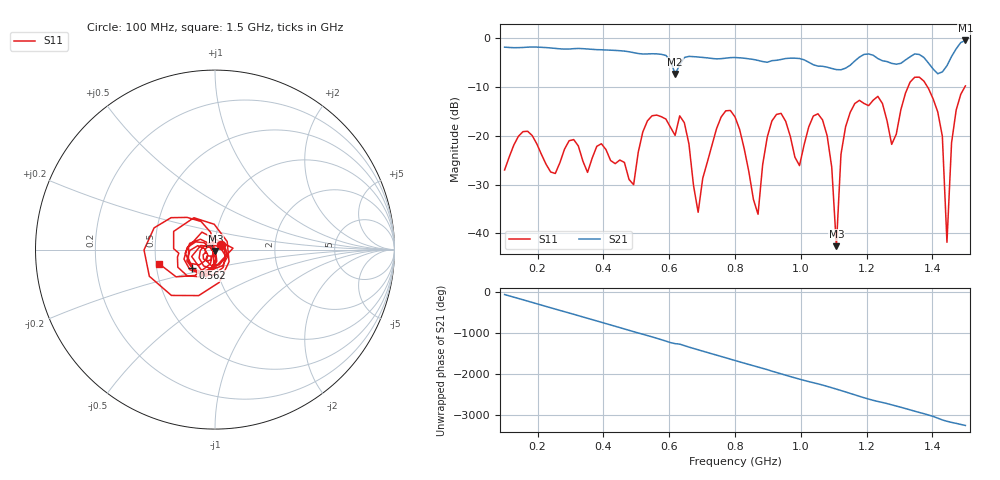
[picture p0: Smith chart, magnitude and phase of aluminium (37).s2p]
! NanoVNA-App
! Date: 2025-09-25 14:55:33
! Start: 100MHz Stop: 1,5GHz Points: 101
! S-Parameter data: F S11 S21 S12 S22
# Hz S RI R 50
!  Frequency  S11_Real  S11_Imag  S21_Real  S21_Imag  S12_Real  S12_Imag  S22_Real  S22_Imag
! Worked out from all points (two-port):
!   101 points, 100 MHz to 1.5 GHz, reference 50 ohm
!   highest |S21| = -0.55 dB at 1.5 GHz (marker M1); lowest = -7.4 dB at 618 MHz (marker M2)
!   |S21| within 3 dB of the highest: start of sweep to 586.4 MHz; 1.46 GHz to end of sweep (the widest 2 of 4)
!   lowest |S11| = -42.6 dB at 1.108 GHz (marker M3), VSWR 1.01, Z = 50.3 - j0.694 ohm
!   |S11| at or under -10 dB: start of sweep to 1.326 GHz; 1.384 GHz to 1.499 GHz (114.3 MHz wide, 7.93 % of centre)
!   S12 and S22 are empty: the file has one direction only
!   S11 on the Smith chart (normalised r, x): 100 MHz: 1.07, +0.06; 562 MHz: 0.76, -0.16; 1.5 GHz: 0.52, -0.09
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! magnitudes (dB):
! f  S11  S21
! 100 MHz  -27.0  -1.9
! 338 MHz  -25.2  -2.2
! 492 MHz  -30.0  -3.0
! 562 MHz  -15.8  -3.3
! 576 MHz  -16.1  -3.4
! 618 MHz  -19.9  -7.4
! 688 MHz  -35.7  -3.9
! 800 MHz  -16.2  -4.0
! 870 MHz  -36.1  -4.6
! 912 MHz  -17.0  -4.7
! 996 MHz  -26.1  -4.2
! 1.038 GHz  -16.0  -5.5
! 1.08 GHz  -20.0  -6.0
! 1.108 GHz  -42.6  -6.5
! 1.122 GHz  -23.8  -6.5
! 1.164 GHz  -13.4  -4.7
! 1.276 GHz  -21.8  -5.2
! 1.388 GHz  -10.4  -5.2
! 1.43 GHz  -20.1  -7.0
! 1.444 GHz  -41.8  -5.7
! 1.458 GHz  -21.5  -3.8
! 1.5 GHz  -9.8  -0.6
